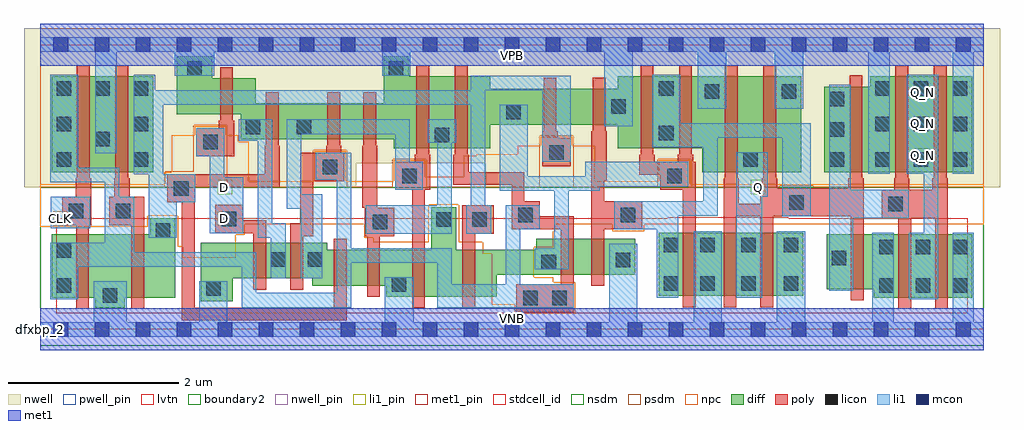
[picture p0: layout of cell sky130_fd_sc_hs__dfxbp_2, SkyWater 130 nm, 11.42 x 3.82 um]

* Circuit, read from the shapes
.subckt sky130_fd_sc_hs__dfxbp_2 CLK D Q Q_N VGND VNB VPB VPWR
XM1 VGND CLK n1 VNB sky130_fd_pr__nfet_01v8_lvt w=0.74 l=0.15
XM2 n2 n1 VGND VNB sky130_fd_pr__nfet_01v8_lvt w=0.74 l=0.15
XM3 n3 D VGND VNB sky130_fd_pr__nfet_01v8_lvt w=0.42 l=0.15
XM4 n4 n1 n3 VNB sky130_fd_pr__nfet_01v8_lvt w=0.42 l=0.15
XM5 n5 n2 n4 VNB sky130_fd_pr__nfet_01v8_lvt w=0.42 l=0.15
XM6 VGND n6 n5 VNB sky130_fd_pr__nfet_01v8_lvt w=0.42 l=0.15
XM7 n6 n4 VGND VNB sky130_fd_pr__nfet_01v8_lvt w=0.55 l=0.15
XM8 n7 n2 n6 VNB sky130_fd_pr__nfet_01v8_lvt w=0.55 l=0.15
XM9 n8 n1 n7 VNB sky130_fd_pr__nfet_01v8_lvt w=0.42 l=0.15
XM10 VGND n9 n8 VNB sky130_fd_pr__nfet_01v8_lvt w=0.42 l=0.15
XM11 VGND n7 n9 VNB sky130_fd_pr__nfet_01v8_lvt w=0.74 l=0.15
XM12 Q n9 VGND VNB sky130_fd_pr__nfet_01v8_lvt w=0.74 l=0.15 m=2
XM13 VGND n9 n10 VNB sky130_fd_pr__nfet_01v8_lvt w=0.64 l=0.15
XM14 Q_N n10 VGND VNB sky130_fd_pr__nfet_01v8_lvt w=0.74 l=0.15 m=2
XM15 VPWR CLK n1 VPB sky130_fd_pr__pfet_01v8 w=1.12 l=0.15
XM16 n2 n1 VPWR VPB sky130_fd_pr__pfet_01v8 w=1.12 l=0.15
XM17 n3 D VPWR VPB sky130_fd_pr__pfet_01v8 w=0.42 l=0.15
XM18 n4 n2 n3 VPB sky130_fd_pr__pfet_01v8 w=0.42 l=0.15
XM19 n11 n1 n4 VPB sky130_fd_pr__pfet_01v8 w=0.42 l=0.15
XM20 VPWR n6 n11 VPB sky130_fd_pr__pfet_01v8 w=0.42 l=0.15
XM21 n6 n4 VPWR VPB sky130_fd_pr__pfet_01v8 w=0.84 l=0.15
XM22 n7 n1 n6 VPB sky130_fd_pr__pfet_01v8 w=0.84 l=0.15
XM23 n12 n2 n7 VPB sky130_fd_pr__pfet_01v8 w=0.42 l=0.15
XM24 VPWR n9 n12 VPB sky130_fd_pr__pfet_01v8 w=0.42 l=0.15
XM25 n9 n7 VPWR VPB sky130_fd_pr__pfet_01v8 w=0.84 l=0.15 m=2
XM26 Q n9 VPWR VPB sky130_fd_pr__pfet_01v8 w=1.12 l=0.15 m=2
XM27 VPWR n9 n10 VPB sky130_fd_pr__pfet_01v8 w=1 l=0.15
XM28 Q_N n10 VPWR VPB sky130_fd_pr__pfet_01v8 w=1.12 l=0.15 m=2
.ends

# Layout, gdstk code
import gdstk
lib = gdstk.Library(unit=1e-6, precision=1e-09)
def R(c, l, rs):  # rectangles x0, y0, x1, y1
    for r in rs: c.add(gdstk.rectangle(r[:2], r[2:], *l))
def A(c, l, x, y, w, h, nx, ny, dx, dy):  # array of equal rectangles
    R(c, l, [(x+i*dx, y+j*dy, x+i*dx+w, y+j*dy+h) for i in range(nx) for j in range(ny)])
def P(c, l, *ps):  # polygons
    for p in ps: c.add(gdstk.Polygon(p, *l))
nwell_pin = (64, 16)
nwell = (64, 20)
diff = (65, 20)
poly = (66, 20)
licon = (66, 44)
li1_pin = (67, 16)
li1 = (67, 20)
mcon = (67, 44)
met1_pin = (68, 16)
met1 = (68, 20)
stdcell_id = (81, 4)
nsdm = (93, 44)
psdm = (94, 20)
npc = (95, 20)
pwell_pin = (122, 16)
lvtn = (125, 44)
boundary2 = (236, 0)

sky130_fd_sc_hs__dfxbp_2 = lib.new_cell('sky130_fd_sc_hs__dfxbp_2')
R(sky130_fd_sc_hs__dfxbp_2, nwell_pin, [(0,3.085,11.04,3.33)])
P(sky130_fd_sc_hs__dfxbp_2, nwell, [(11.23,3.52),(-0.19,3.52),(-0.19,1.66),(3.7,1.66),(3.7,1.94),(5.205,1.94),(5.205,1.66),(11.23,1.66)])
R(sky130_fd_sc_hs__dfxbp_2, diff, [(7.235,0.39,8.93,1.13), (0.135,1.84,1.325,2.96)])
P(sky130_fd_sc_hs__dfxbp_2, diff, [(1.58,1.3),(1.29,1.3),(1.29,1.11),(0.135,1.11),(0.135,0.37),(0.645,0.37),(0.645,0.25),(0.99,0.25),(0.99,0.37),(1.58,0.37)],
  [(6.965,1.06),(5.805,1.06),(5.805,0.93),(4.865,0.93),(4.865,1.43),(4.575,1.43),(4.575,0.93),(3.36,0.93),(3.36,1.015),(1.88,1.015),(1.88,0.33),(2.25,0.33),(2.25,0.595),(3.185,0.595),(3.185,0.51),(4.05,0.51),(4.05,0.38),(5.34,0.38),(5.34,0.64),(6.965,0.64)],
  [(8.905,2.96),(6.76,2.96),(6.76,2.815),(5.265,2.815),(5.265,2.96),(4.31,2.96),(4.31,3.195),(4.02,3.195),(4.02,2.645),(2.52,2.645),(2.52,2.935),(2.015,2.935),(2.015,3.195),(1.595,3.195),(1.595,2.515),(2.345,2.515),(2.345,2.225),(4.135,2.225),(4.135,2.12),(5.265,2.12),(5.265,2.395),(6.76,2.395),(6.76,2.12),(7.745,2.12),(7.745,1.84),(8.905,1.84)],
  [(10.905,2.96),(9.71,2.96),(9.71,2.84),(9.175,2.84),(9.175,1.84),(10.905,1.84)],
  [(10.905,1.11),(9.2,1.11),(9.2,0.47),(9.755,0.47),(9.755,0.37),(10.905,0.37)])
P(sky130_fd_sc_hs__dfxbp_2, poly, [(10.62,1.765),(10.605,1.765),(10.605,3.09),(10.455,3.09),(10.455,1.765),(10.44,1.765),(10.44,1.63),(10.17,1.63),(10.17,1.765),(10.155,1.765),(10.155,3.09),(10.005,3.09),(10.005,1.765),(9.99,1.765),(9.99,1.63),(9.845,1.63),(9.845,1.3),(10.04,1.3),(10.04,0.24),(10.19,0.24),(10.19,1.3),(10.47,1.3),(10.47,0.24),(10.62,0.24)],
  [(9.635,1.765),(9.62,1.765),(9.62,2.97),(9.47,2.97),(9.47,1.765),(9.455,1.765),(9.455,1.65),(8.625,1.65),(8.625,1.765),(8.61,1.765),(8.61,3.09),(8.46,3.09),(8.46,1.765),(8.445,1.765),(8.445,1.65),(8.425,1.65),(8.425,1.47),(8.175,1.47),(8.175,1.765),(8.16,1.765),(8.16,3.09),(8.01,3.09),(8.01,1.765),(7.995,1.765),(7.995,0.26),(8.145,0.26),(8.145,1.32),(8.425,1.32),(8.425,0.26),(8.575,0.26),(8.575,1.32),(9.485,1.32),(9.485,0.34),(9.635,0.34)],
  [(7.67,1.96),(7.64,1.96),(7.64,2.045),(7.625,2.045),(7.625,3.09),(7.475,3.09),(7.475,2.045),(7.46,2.045),(7.46,1.96),(7.19,1.96),(7.19,2.045),(7.175,2.045),(7.175,3.09),(7.025,3.09),(7.025,2.045),(7.01,2.045),(7.01,1.81),(7.255,1.81),(7.255,1.63),(7.52,1.63),(7.52,0.26),(7.67,0.26)],
  [(7.045,1.5),(6.6,1.5),(6.6,1.74),(6.63,1.74),(6.63,2.32),(6.615,2.32),(6.615,2.945),(6.465,2.945),(6.465,2.32),(6.45,2.32),(6.45,0.51),(6.6,0.51),(6.6,1.17),(7.045,1.17)],
  [(6.24,1.32),(5.845,1.32),(5.845,1.5),(5.665,1.5),(5.665,1.84),(5.015,1.84),(5.015,2.045),(5,2.045),(5,3.09),(4.85,3.09),(4.85,2.045),(4.835,2.045),(4.835,1.69),(5.515,1.69),(5.515,1.17),(6.09,1.17),(6.09,0.53),(5.57,0.53),(5.57,0.2),(6.24,0.2)],
  [(6.205,2.235),(6.055,2.235),(6.055,2.32),(6.04,2.32),(6.04,2.945),(5.89,2.945),(5.89,2.32),(5.875,2.32),(5.875,1.905),(6.205,1.905)],
  [(5.305,1.45),(4.94,1.45),(4.94,0.25),(5.09,0.25),(5.09,1.12),(5.305,1.12)],
  [(4.565,2.045),(4.55,2.045),(4.55,3.09),(4.4,3.09),(4.4,2.045),(4.385,2.045),(4.385,1.96),(4.155,1.96),(4.155,1.63),(4.35,1.63),(4.35,0.25),(4.5,0.25),(4.5,1.63),(4.565,1.63)],
  [(4.14,1.42),(3.945,1.42),(3.945,2.15),(3.93,2.15),(3.93,2.775),(3.78,2.775),(3.78,2.15),(3.765,2.15),(3.765,1.42),(3.795,1.42),(3.795,1.09),(3.825,1.09),(3.825,0.38),(3.975,0.38),(3.975,1.09),(4.14,1.09)],
  [(3.585,1.06),(3.435,1.06),(3.435,0.255),(1.805,0.255),(1.805,1.485),(1.815,1.485),(1.815,1.665),(2.805,1.665),(2.805,2.15),(2.79,2.15),(2.79,2.775),(2.64,2.775),(2.64,2.15),(2.625,2.15),(2.625,1.815),(1.485,1.815),(1.485,1.485),(1.655,1.485),(1.655,0.105),(3.585,0.105)],
  [(3.555,2.065),(3.525,2.065),(3.525,2.15),(3.51,2.15),(3.51,2.775),(3.36,2.775),(3.36,2.15),(3.345,2.15),(3.345,2.065),(3.045,2.065),(3.045,1.24),(2.925,1.24),(2.925,0.465),(3.075,0.465),(3.075,1.09),(3.195,1.09),(3.195,1.735),(3.555,1.735)],
  [(2.645,1.275),(2.375,1.275),(2.375,1.455),(2.045,1.455),(2.045,1.125),(2.495,1.125),(2.495,0.465),(2.645,0.465)],
  [(2.27,2.44),(2.255,2.44),(2.255,3.065),(2.105,3.065),(2.105,2.44),(2.09,2.44),(2.09,2.355),(1.825,2.355),(1.825,2.025),(2.27,2.025)],
  [(1.215,1.55),(1.045,1.55),(1.045,1.765),(1.03,1.765),(1.03,3.09),(0.88,3.09),(0.88,1.765),(0.865,1.765),(0.865,1.55),(0.805,1.55),(0.805,1.22),(1.065,1.22),(1.065,0.24),(1.215,0.24)],
  [(0.595,1.765),(0.58,1.765),(0.58,3.09),(0.43,3.09),(0.43,1.765),(0.415,1.765),(0.415,1.55),(0.255,1.55),(0.255,1.22),(0.42,1.22),(0.42,0.24),(0.57,0.24),(0.57,1.22),(0.595,1.22)])
A(sky130_fd_sc_hs__dfxbp_2, licon, 9.815, 0.43, 0.17, 0.17, 3, 2, 0.43, 0.45)
A(sky130_fd_sc_hs__dfxbp_2, licon, 9.235, 1.9, 0.17, 0.17, 1, 3, 0, 0.355)
A(sky130_fd_sc_hs__dfxbp_2, licon, 9.77, 1.9, 0.17, 0.17, 1, 3, 0, 0.415)
A(sky130_fd_sc_hs__dfxbp_2, licon, 10.22, 1.9, 0.17, 0.17, 1, 3, 0, 0.415)
A(sky130_fd_sc_hs__dfxbp_2, licon, 10.675, 1.9, 0.17, 0.17, 1, 3, 0, 0.415)
A(sky130_fd_sc_hs__dfxbp_2, licon, 0.195, 2.73, 0.17, 0.17, 3, 1, 0.45, 0)
R(sky130_fd_sc_hs__dfxbp_2, licon, [(5.65,0.28,5.82,0.45), (5.99,0.28,6.16,0.45), (0.73,0.31,0.9,0.48), (1.94,0.39,2.11,0.56), (0.195,0.43,0.365,0.6), (4.115,0.44,4.285,0.61), (7.295,0.45,7.465,0.62), (7.725,0.45,7.895,0.62), (8.2,0.45,8.37,0.62), (8.7,0.45,8.87,0.62), (5.865,0.7,6.035,0.87), (6.735,0.725,6.905,0.895), (2.7,0.73,2.87,0.9), (3.13,0.73,3.3,0.9), (9.26,0.75,9.43,0.92), (0.195,0.84,0.365,1.01), (7.295,0.9,7.465,1.07), (7.725,0.9,7.895,1.07), (8.2,0.9,8.37,1.07), (8.7,0.9,8.87,1.07), (1.35,1.07,1.52,1.24), (3.89,1.17,4.06,1.34), (4.635,1.2,4.805,1.37), (5.055,1.2,5.225,1.37), (2.125,1.205,2.295,1.375), (5.595,1.25,5.765,1.42), (6.795,1.25,6.965,1.42), (0.335,1.3,0.505,1.47), (0.885,1.3,1.055,1.47), (9.925,1.38,10.095,1.55), (8.765,1.4,8.935,1.57), (1.565,1.565,1.735,1.735), (4.235,1.71,4.405,1.88), (7.335,1.71,7.505,1.88), (3.305,1.815,3.475,1.985), (0.195,1.9,0.365,2.07), (1.095,1.9,1.265,2.07), (8.225,1.9,8.395,2.07), (5.955,1.985,6.125,2.155), (1.905,2.105,2.075,2.275), (0.645,2.14,0.815,2.31), (4.615,2.19,4.785,2.36), (7.24,2.21,7.41,2.38), (2.405,2.285,2.575,2.455), (3,2.285,3.17,2.455), (0.195,2.315,0.365,2.485), (1.095,2.315,1.265,2.485), (5.455,2.455,5.625,2.625), (6.68,2.52,6.85,2.69), (7.775,2.695,7.945,2.865), (8.675,2.695,8.845,2.865), (7.24,2.73,7.41,2.9), (1.72,2.965,1.89,3.135), (4.08,2.965,4.25,3.135)])
A(sky130_fd_sc_hs__dfxbp_2, li1_pin, 10.235, 1.95, 0.17, 0.17, 1, 3, 0, 0.37)
R(sky130_fd_sc_hs__dfxbp_2, li1_pin, [(0.155,1.21,0.325,1.38), (2.075,1.21,2.245,1.38), (2.075,1.58,2.245,1.75), (8.315,1.58,8.485,1.75)])
R(sky130_fd_sc_hs__dfxbp_2, li1, [(0.125,1.18,0.585,1.55)])
P(sky130_fd_sc_hs__dfxbp_2, li1, [(6.6,2.375),(6.6,3.245),(4.33,3.245),(4.33,2.965),(4,2.965),(4,3.245),(2.035,3.245),(2.035,2.965),(1.575,2.965),(1.575,3.245),(0.895,3.245),(0.895,2.06),(0.645,2.06),(0.645,3.245),(0,3.245),(0,3.415),(11.04,3.415),(11.04,3.245),(10.925,3.245),(10.925,1.82),(10.675,1.82),(10.675,3.245),(9.94,3.245),(9.94,1.82),(9.69,1.82),(9.69,3.245),(8.925,3.245),(8.925,2.58),(8.595,2.58),(8.595,3.245),(8.025,3.245),(8.025,2.58),(7.695,2.58),(7.695,3.245),(6.93,3.245),(6.93,2.375)],
  [(6.655,0.085),(6.655,1),(6.985,1),(6.985,0.085),(7.645,0.085),(7.645,1.15),(7.975,1.15),(7.975,0.085),(8.62,0.085),(8.62,1.15),(8.95,1.15),(8.95,0.085),(9.735,0.085),(9.735,1.13),(9.985,1.13),(9.985,0.085),(10.675,0.085),(10.675,1.13),(10.925,1.13),(10.925,0.085),(11.04,0.085),(11.04,-0.085),(0,-0.085),(0,0.085),(0.625,0.085),(0.625,0.56),(1.01,0.56),(1.01,0.085),(1.86,0.085),(1.86,0.56),(2.19,0.56),(2.19,0.085),(4.03,0.085),(4.03,0.61),(4.37,0.61),(4.37,0.085)],
  [(9.235,2.86),(9.485,2.86),(9.485,1.63),(10.165,1.63),(10.165,1.3),(9.51,1.3),(9.51,0.45),(9.235,0.45)],
  [(8.145,2.07),(8.515,2.07),(8.515,1.55),(8.45,1.55),(8.45,0.37),(8.145,0.37)],
  [(1.27,1.815),(1.095,1.815),(1.095,2.98),(1.345,2.98),(1.345,2.795),(5.035,2.795),(5.035,2.965),(6.205,2.965),(6.205,1.96),(5.875,1.96),(5.875,2.795),(5.205,2.795),(5.205,1.45),(5.275,1.45),(5.275,1.12),(4.985,1.12),(4.985,1.45),(5.035,1.45),(5.035,2.625),(1.44,2.625),(1.44,1.815),(1.815,1.815),(1.815,1.485),(1.6,1.485),(1.6,1.07),(1.27,1.07)],
  [(2.545,1.07),(2.545,2.205),(2.325,2.205),(2.325,2.455),(2.715,2.455),(2.715,1.24),(2.87,1.24),(2.87,0.595),(2.7,0.595),(2.7,1.07)],
  [(2.885,1.41),(2.885,2.455),(4.325,2.455),(4.325,1.96),(4.475,1.96),(4.475,1.63),(4.155,1.63),(4.155,2.285),(3.055,2.285),(3.055,1.58),(3.3,1.58),(3.3,0.595),(3.05,0.595),(3.05,1.41)],
  [(3.81,1.12),(3.81,1.45),(4.645,1.45),(4.645,2.18),(4.535,2.18),(4.535,2.455),(4.865,2.455),(4.865,2.18),(4.815,2.18),(4.815,1.12)],
  [(10.14,1.82),(10.14,2.98),(10.505,2.98),(10.505,0.35),(10.165,0.35),(10.165,1.13),(10.335,1.13),(10.335,1.82)],
  [(0.755,1.01),(0.755,1.72),(0.115,1.72),(0.115,2.98),(0.445,2.98),(0.445,1.89),(0.925,1.89),(0.925,1.55),(1.1,1.55),(1.1,0.9),(2.53,0.9),(2.53,0.425),(3.47,0.425),(3.47,1.75),(3.225,1.75),(3.225,2.065),(3.64,2.065),(3.64,0.95),(4.815,0.95),(4.815,0.53),(5.445,0.53),(5.445,1.45),(5.845,1.45),(5.845,1.17),(5.615,1.17),(5.615,0.53),(6.24,0.53),(6.24,0.255),(4.645,0.255),(4.645,0.78),(3.64,0.78),(3.64,0.255),(2.36,0.255),(2.36,0.73),(0.445,0.73),(0.445,0.35),(0.115,0.35),(0.115,1.01)],
  [(7.49,2.41),(9.015,2.41),(9.015,1.32),(8.685,1.32),(8.685,2.24),(7.925,2.24),(7.925,1.33),(7.465,1.33),(7.465,0.37),(7.215,0.37),(7.215,1.17),(6.715,1.17),(6.715,1.5),(7.755,1.5),(7.755,2.13),(7.16,2.13),(7.16,2.98),(7.49,2.98)],
  [(5.375,1.62),(5.375,2.625),(5.705,2.625),(5.705,1.79),(6.375,1.79),(6.375,1.96),(7.585,1.96),(7.585,1.67),(6.545,1.67),(6.545,1.62),(6.185,1.62),(6.185,0.7),(5.785,0.7),(5.785,0.95),(6.015,0.95),(6.015,1.62)],
  [(2.155,1.78),(2.375,1.78),(2.375,1.125),(1.985,1.125),(1.985,2.025),(1.825,2.025),(1.825,2.355),(2.155,2.355)])
A(sky130_fd_sc_hs__dfxbp_2, mcon, 0.155, -0.085, 0.17, 0.17, 23, 2, 0.48, 3.33)
R(sky130_fd_sc_hs__dfxbp_2, met1_pin, [(0,0,11.04,0.245), (0,3.085,11.04,3.33)])
R(sky130_fd_sc_hs__dfxbp_2, met1, [(0,-0.245,11.04,0.245), (0,3.085,11.04,3.575)])
R(sky130_fd_sc_hs__dfxbp_2, stdcell_id, [(0,0,11.04,3.33)])
R(sky130_fd_sc_hs__dfxbp_2, nsdm, [(0,-0.19,11.04,1.66)])
P(sky130_fd_sc_hs__dfxbp_2, psdm, [(11.04,3.52),(0,3.52),(0,1.66),(1.455,1.66),(1.455,1.845),(1.795,1.845),(1.795,2.385),(2.185,2.385),(2.185,1.66),(3.195,1.66),(3.195,2.095),(3.585,2.095),(3.585,1.66),(4.125,1.66),(4.125,1.99),(4.515,1.99),(4.515,1.66),(5.845,1.66),(5.845,2.265),(6.235,2.265),(6.235,1.66),(7.225,1.66),(7.225,1.99),(7.615,1.99),(7.615,1.66),(8.655,1.66),(8.655,1.68),(9.045,1.68),(9.045,1.66),(11.04,1.66)])
P(sky130_fd_sc_hs__dfxbp_2, npc, [(11.04,1.7),(7.605,1.7),(7.605,1.98),(7.235,1.98),(7.235,1.73),(6.49,1.73),(6.49,2.15),(6.225,2.15),(6.225,2.255),(5.855,2.255),(5.855,2.15),(5.59,2.15),(5.59,2.05),(5.105,2.05),(5.105,2.03),(4.955,2.03),(4.955,1.785),(4.505,1.785),(4.505,1.98),(4.135,1.98),(4.135,1.73),(3.575,1.73),(3.575,2.085),(3.205,2.085),(3.205,1.73),(2.44,1.73),(2.44,2.195),(2.315,2.195),(2.315,2.27),(2.175,2.27),(2.175,2.375),(1.805,2.375),(1.805,2.27),(1.54,2.27),(1.54,1.835),(1.465,1.835),(1.465,1.7),(0,1.7),(0,1.2),(1.26,1.2),(1.26,1.33),(1.61,1.33),(1.61,0.965),(1.67,0.965),(1.67,0.84),(2.29,0.84),(2.29,1.105),(2.395,1.105),(2.395,1.23),(3.79,1.23),(3.79,1.07),(3.895,1.07),(3.895,1.02),(4.545,1.02),(4.545,1.46),(4.895,1.46),(4.895,1.02),(5.18,1.02),(5.18,0.885),(5.285,0.885),(5.285,0.285),(5.55,0.285),(5.55,0.18),(6.26,0.18),(6.26,0.55),(6,0.55),(6,0.61),(5.775,0.61),(5.775,0.96),(6,0.96),(6,1.15),(6.025,1.15),(6.025,1.23),(6.695,1.23),(6.695,1.15),(7.065,1.15),(7.065,1.23),(11.04,1.23)])
R(sky130_fd_sc_hs__dfxbp_2, pwell_pin, [(0,0,11.04,0.245)])
P(sky130_fd_sc_hs__dfxbp_2, lvtn, [(10.85,1.3),(8.755,1.3),(8.755,1.31),(7.34,1.31),(7.34,1.3),(0.19,1.3),(0.19,0.19),(10.85,0.19)])
R(sky130_fd_sc_hs__dfxbp_2, boundary2, [(0,0,11.04,3.33)])
sky130_fd_sc_hs__dfxbp_2.add(gdstk.Label('dfxbp_2', (0,0), layer=83, texttype=44))
sky130_fd_sc_hs__dfxbp_2.add(gdstk.Label('VNB', (5.52,0.123), layer=64, texttype=59))
sky130_fd_sc_hs__dfxbp_2.add(gdstk.Label('VPB', (5.52,3.208), layer=64, texttype=5))
sky130_fd_sc_hs__dfxbp_2.add(gdstk.Label('VPWR', (5.52,3.208), layer=68, texttype=5))
sky130_fd_sc_hs__dfxbp_2.add(gdstk.Label('VGND', (5.52,0.123), layer=68, texttype=5))
sky130_fd_sc_hs__dfxbp_2.add(gdstk.Label('CLK', (0.24,1.295), layer=67, texttype=5))
sky130_fd_sc_hs__dfxbp_2.add(gdstk.Label('Q', (8.4,1.665), layer=67, texttype=5))
sky130_fd_sc_hs__dfxbp_2.add(gdstk.Label('D', (2.16,1.295), layer=67, texttype=5))
sky130_fd_sc_hs__dfxbp_2.add(gdstk.Label('D', (2.16,1.665), layer=67, texttype=5))
sky130_fd_sc_hs__dfxbp_2.add(gdstk.Label('Q_N', (10.32,2.035), layer=67, texttype=5))
sky130_fd_sc_hs__dfxbp_2.add(gdstk.Label('Q_N', (10.32,2.405), layer=67, texttype=5))
sky130_fd_sc_hs__dfxbp_2.add(gdstk.Label('Q_N', (10.32,2.775), layer=67, texttype=5))

lib.write_gds('sky130_fd_sc_hs__dfxbp_2.gds')
